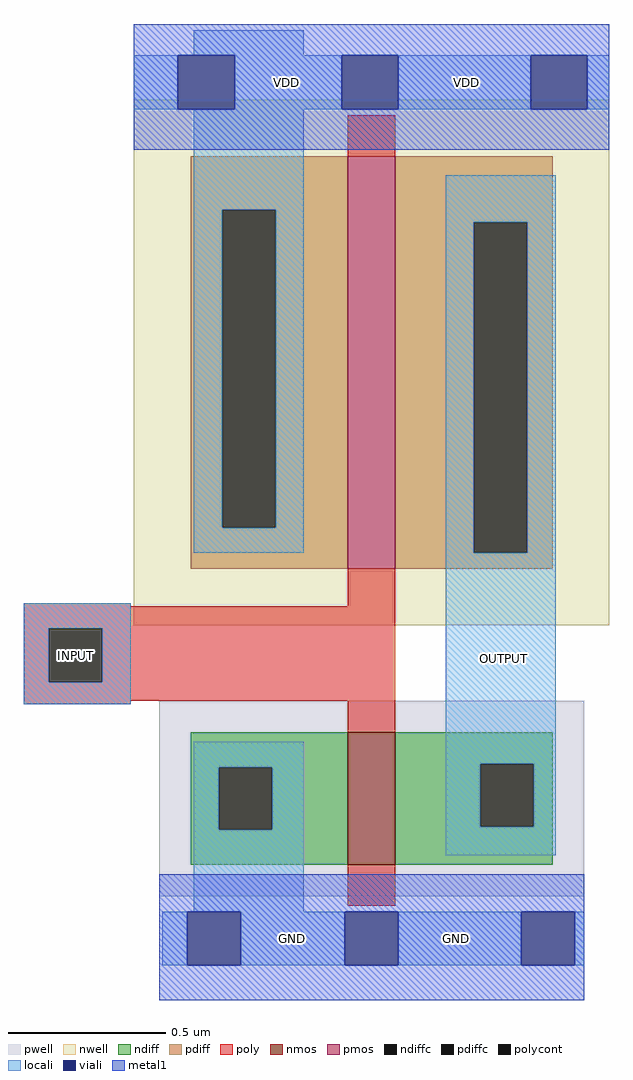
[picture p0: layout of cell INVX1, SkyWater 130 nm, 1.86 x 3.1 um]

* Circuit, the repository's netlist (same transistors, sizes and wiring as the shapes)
* NGSPICE file created from INVX1.ext - technology: sky130A

.subckt INVX1 INPUT VDD GND OUTPUT
X0 OUTPUT INPUT GND SUB sky130_fd_pr__nfet_01v8 ad=0.21 pd=1.84 as=0.21 ps=1.84 w=0.42 l=0.15
**devattr s=2100,184 d=2100,184
X1 OUTPUT INPUT VDD w_n34_n18# sky130_fd_pr__pfet_01v8 ad=0.655 pd=3.62 as=0.655 ps=3.62 w=1.31 l=0.15
**devattr s=6550,362 d=6550,362
.ends

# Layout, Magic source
magic
tech sky130A
<< nwell >>
rect -34 -18 117 149
<< pwell >>
rect -26 -104 109 -42
<< nmos >>
rect 34 -94 49 -52
<< pmos >>
rect 34 0 49 131
<< ndiff >>
rect -16 -63 34 -52
rect -16 -83 -7 -63
rect 10 -83 34 -63
rect -16 -94 34 -83
rect 49 -62 99 -52
rect 49 -82 76 -62
rect 93 -82 99 -62
rect 49 -94 99 -82
<< pdiff >>
rect -16 114 34 131
rect -16 13 -6 114
rect 11 13 34 114
rect -16 0 34 13
rect 49 110 99 131
rect 49 5 74 110
rect 91 5 99 110
rect 49 0 99 5
<< ndiffc >>
rect -7 -83 10 -63
rect 76 -82 93 -62
<< pdiffc >>
rect -6 13 11 114
rect 74 5 91 110
<< poly >>
rect 34 131 49 144
rect -69 -12 -35 -11
rect 34 -12 49 0
rect -69 -19 49 -12
rect -69 -36 -61 -19
rect -44 -36 49 -19
rect -69 -42 49 -36
rect -69 -43 -35 -42
rect 34 -52 49 -42
rect 34 -107 49 -94
<< polycont >>
rect -61 -36 -44 -19
<< locali >>
rect -15 163 20 171
rect -34 146 -20 163
rect -2 146 32 163
rect 50 146 92 163
rect 110 146 117 163
rect -15 114 20 146
rect -15 13 -6 114
rect 11 13 20 114
rect -15 5 20 13
rect 65 110 100 125
rect 65 5 74 110
rect 91 5 100 110
rect -69 -19 -35 -11
rect -69 -36 -61 -19
rect -44 -36 -35 -19
rect -69 -43 -35 -36
rect -15 -63 20 -55
rect -15 -83 -7 -63
rect 10 -83 20 -63
rect -15 -109 20 -83
rect 65 -62 100 5
rect 65 -82 76 -62
rect 93 -82 100 -62
rect 65 -91 100 -82
rect -25 -126 -17 -109
rect 0 -126 33 -109
rect 50 -126 89 -109
rect 106 -126 109 -109
<< viali >>
rect -20 146 -2 163
rect 32 146 50 163
rect 92 146 110 163
rect -17 -126 0 -109
rect 33 -126 50 -109
rect 89 -126 106 -109
<< metal1 >>
rect -34 163 117 173
rect -34 146 -20 163
rect -2 146 32 163
rect 50 146 92 163
rect 110 146 117 163
rect -34 133 117 146
rect -26 -109 109 -97
rect -26 -126 -17 -109
rect 0 -126 33 -109
rect 50 -126 89 -109
rect 106 -126 109 -109
rect -26 -137 109 -126
<< labels >>
rlabel polycont -61 -36 -44 -19 1 INPUT
rlabel locali 75 -37 92 -20 1 OUTPUT
rlabel metal1 60 -126 77 -109 1 GND
rlabel metal1 8 -126 25 -109 1 GND
rlabel metal1 6 146 23 163 1 VDD
rlabel metal1 63 146 80 163 1 VDD
<< end >>
